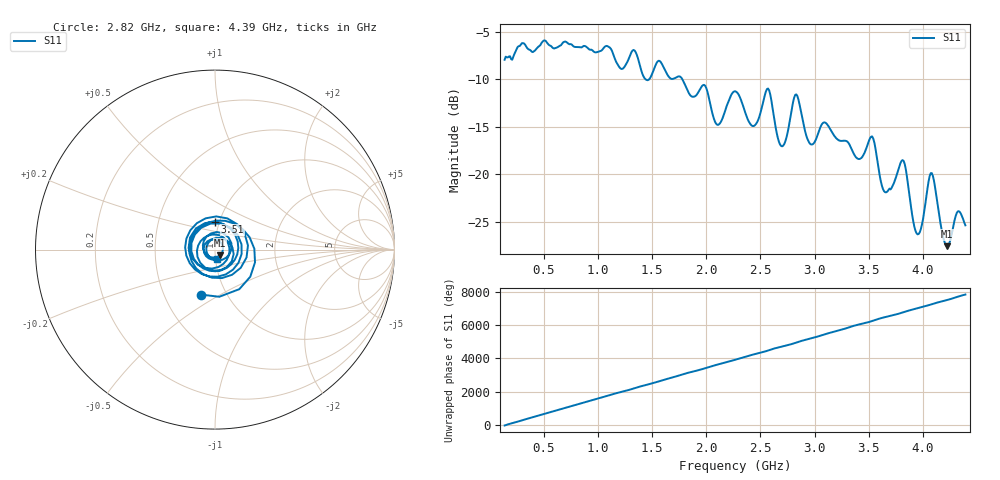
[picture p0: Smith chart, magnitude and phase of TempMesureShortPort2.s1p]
! 140 4400 10
# MHz S MA R 50.0
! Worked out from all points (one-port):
!   426 points, 140 MHz to 4.39 GHz, reference 50 ohm
!   lowest |S11| = -27.5 dB at 4.22 GHz (marker M1), VSWR 1.09, Z = 52.7 - j3.4 ohm
!   |S11| at or under -10 dB: 1.442 GHz to 1.472 GHz (30.23 MHz wide, 2.08 % of centre); 1.78 GHz to end of sweep
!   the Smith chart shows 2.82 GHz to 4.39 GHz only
!   S11 on the Smith chart (normalised r, x): 2.82 GHz: 0.76, -0.41; 3.51 GHz: 0.95, +0.30; 4.39 GHz: 1.02, -0.11
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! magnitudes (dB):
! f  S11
! 140 MHz  -7.9
! 680 MHz  -6.1
! 1.09 GHz  -6.5
! 1.21 GHz  -8.9
! 1.33 GHz  -6.9
! 1.45 GHz  -10.1
! 1.56 GHz  -8.0
! 1.74 GHz  -9.7
! 1.99 GHz  -10.7
! 2.1 GHz  -14.8
! 2.27 GHz  -11.3
! 2.43 GHz  -14.9
! 2.57 GHz  -11.0
! 2.7 GHz  -17.0
! 2.8 GHz  -12.4
! 2.82 GHz  -11.6
! 2.96 GHz  -16.8
! 3.09 GHz  -14.5
! 3.33 GHz  -17.1
! 3.51 GHz  -16.2
! 3.64 GHz  -21.8
! 3.81 GHz  -18.5
! 3.86 GHz  -21.0
! 3.95 GHz  -26.3
! 4.08 GHz  -19.9
! 4.22 GHz  -27.5
! 4.32 GHz  -23.9
! 4.39 GHz  -25.4
